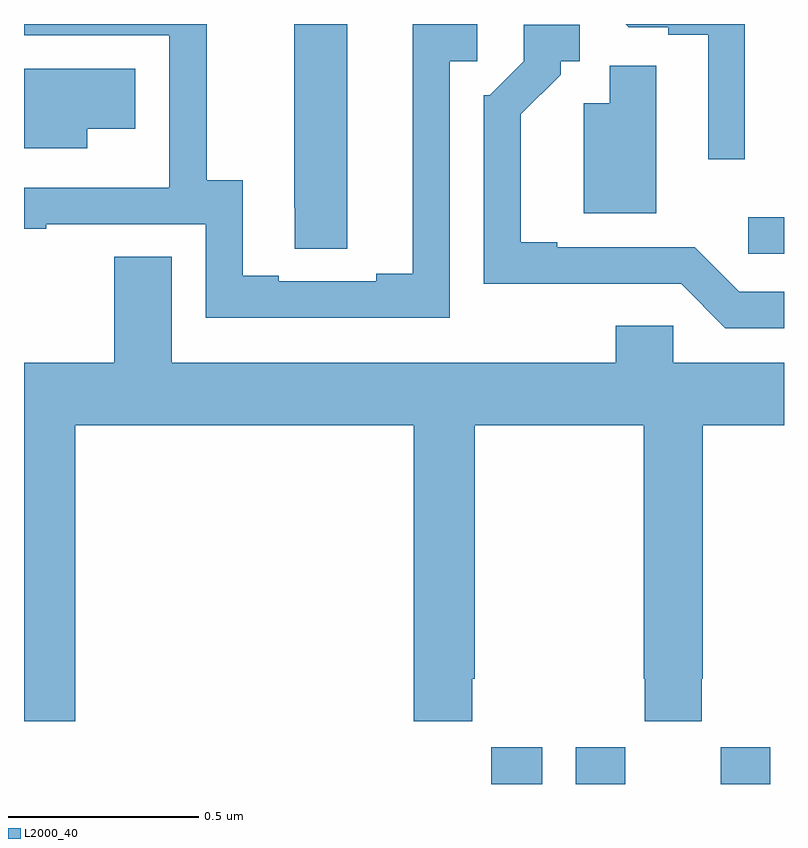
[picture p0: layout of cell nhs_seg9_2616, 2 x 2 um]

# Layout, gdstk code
import gdstk
lib = gdstk.Library(unit=1e-6, precision=1e-09)
def R(c, l, rs):  # rectangles x0, y0, x1, y1
    for r in rs: c.add(gdstk.rectangle(r[:2], r[2:], *l))
def P(c, l, *ps):  # polygons
    for p in ps: c.add(gdstk.Polygon(p, *l))
L2000_40 = (2000, 40)

nhs_seg9_2616 = lib.new_cell('nhs_seg9_2616')
R(nhs_seg9_2616, L2000_40, [(144.23,1171.5,144.364,1171.597), (144.452,1171.5,144.582,1171.597), (144.834,1171.5,144.964,1171.597), (144.906,1172.895,145,1172.992)])
P(nhs_seg9_2616, L2000_40, [(144.12,1173.402),(144.193,1173.402),(144.193,1173.5),(144.023,1173.5),(144.023,1172.843),(143.927,1172.843),(143.927,1172.823),(143.671,1172.823),(143.671,1172.838),(143.575,1172.838),(143.575,1173.089),(143.481,1173.089),(143.481,1173.5),(143,1173.5),(143,1173.471),(143.382,1173.471),(143.382,1173.07),(143.381,1173.07),(143.381,1173.069),(143,1173.069),(143,1172.961),(143.059,1172.961),(143.059,1172.973),(143.478,1172.973),(143.478,1172.727),(144.12,1172.727)],
  [(144.897,1173.5),(144.583,1173.5),(144.591,1173.492),(144.696,1173.492),(144.696,1173.472),(144.8,1173.472),(144.8,1173.144),(144.897,1173.144)],
  [(143.851,1173.5),(143.711,1173.5),(143.711,1173.016),(143.712,1173.016),(143.712,1172.908),(143.851,1172.908)],
  [(145,1172.796),(144.882,1172.796),(144.765,1172.913),(144.403,1172.913),(144.403,1172.926),(144.307,1172.926),(144.307,1173.262),(144.412,1173.367),(144.412,1173.402),(144.462,1173.402),(144.462,1173.498),(144.315,1173.498),(144.315,1173.402),(144.225,1173.312),(144.21,1173.312),(144.21,1172.816),(144.473,1172.816),(144.473,1172.817),(144.729,1172.817),(144.846,1172.7),(145,1172.7)],
  [(144.664,1173.39),(144.542,1173.39),(144.542,1173.292),(144.473,1173.292),(144.473,1173.002),(144.664,1173.002)],
  [(143.167,1173.224),(143.293,1173.224),(143.293,1173.382),(143,1173.382),(143,1173.173),(143.167,1173.173)],
  [(143.135,1172.444),(144.026,1172.444),(144.026,1171.665),(144.179,1171.665),(144.179,1171.777),(144.186,1171.777),(144.186,1172.444),(144.631,1172.444),(144.631,1171.777),(144.633,1171.777),(144.633,1171.665),(144.783,1171.665),(144.783,1171.777),(144.786,1171.777),(144.786,1172.444),(145,1172.444),(145,1172.608),(144.708,1172.608),(144.708,1172.706),(144.557,1172.706),(144.557,1172.608),(143.389,1172.608),(143.389,1172.888),(143.237,1172.888),(143.237,1172.608),(143,1172.608),(143,1171.665),(143.135,1171.665)])

lib.write_gds('nhs_seg9_2616.gds')
